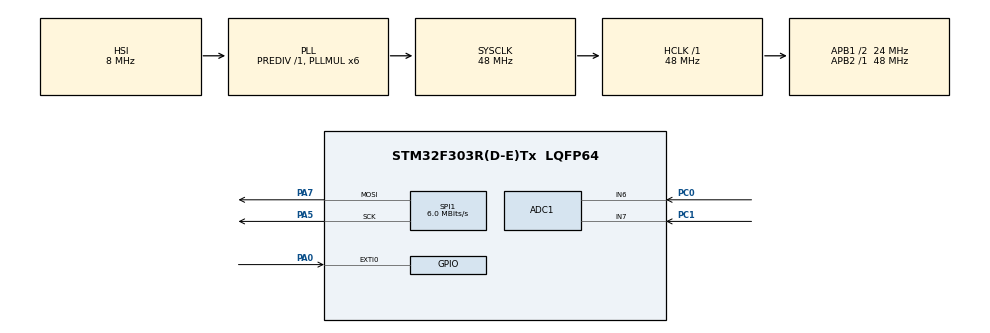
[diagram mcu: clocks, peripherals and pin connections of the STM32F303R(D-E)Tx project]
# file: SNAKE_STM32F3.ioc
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ADC1.Channel-1\#ChannelRegularConversion=ADC_CHANNEL_6
ADC1.NbrOfConversionFlag=1
ADC1.Offset-1\#ChannelRegularConversion=0
ADC1.OffsetNumber-1\#ChannelRegularConversion=ADC_OFFSET_NONE
ADC1.Rank-1\#ChannelRegularConversion=1
ADC1.SamplingTime-1\#ChannelRegularConversion=ADC_SAMPLETIME_1CYCLE_5
ADC1.master=1
Mcu.Family=STM32F3
Mcu.Name=STM32F303R(D-E)Tx
Mcu.Package=LQFP64
NVIC.EXTI0_IRQn=true\:0\:0\:false\:false\:true\:true\:true\:true
NVIC.PriorityGroup=NVIC_PRIORITYGROUP_4
NVIC.TIM2_IRQn=true\:0\:0\:false\:false\:true\:true\:true\:true
PA0.GPIO_PuPd=GPIO_PULLUP
PA0.Signal=GPXTI0
PA5.Mode=TX_Only_Simplex_Unidirect_Master
PA5.Signal=SPI1_SCK
PA7.Mode=TX_Only_Simplex_Unidirect_Master
PA7.Signal=SPI1_MOSI
PC0.Signal=ADCx_IN6
PC1.Signal=ADCx_IN7
PF0-OSC_IN.Mode=HSE-External-Oscillator
PF0-OSC_IN.Signal=RCC_OSC_IN
PF1-OSC_OUT.Mode=HSE-External-Oscillator
PF1-OSC_OUT.Signal=RCC_OSC_OUT
ProjectManager.HeapSize=0x200
ProjectManager.StackSize=0x400
ProjectManager.TargetToolchain=STM32CubeIDE
RCC.AHBFreq_Value=48000000
RCC.APB1CLKDivider=RCC_HCLK_DIV2
RCC.APB1Freq_Value=24000000
RCC.APB1TimFreq_Value=48000000
RCC.APB2Freq_Value=48000000
RCC.APB2TimFreq_Value=48000000
RCC.CortexFreq_Value=48000000
RCC.HCLKFreq_Value=48000000
RCC.HSE_VALUE=8000000
RCC.HSI_VALUE=8000000
RCC.LSE_VALUE=32768
RCC.PLLMUL=RCC_PLL_MUL6
RCC.SYSCLKFreq_VALUE=48000000
RCC.SYSCLKSourceVirtual=RCC_SYSCLKSOURCE_PLLCLK
RCC.USBFreq_Value=48000000
SH.ADCx_IN6.0=ADC1_IN6,IN6-Single-Ended
SH.ADCx_IN7.0=ADC1_IN7,IN7-Single-Ended
SPI1.BaudRatePrescaler=SPI_BAUDRATEPRESCALER_8
SPI1.CalculateBaudRate=6.0 MBits/s
SPI1.DataSize=SPI_DATASIZE_8BIT
SPI1.Direction=SPI_DIRECTION_2LINES
SPI1.Mode=SPI_MODE_MASTER
SPI1.VirtualType=VM_MASTER
TIM2.Period=9599
TIM2.Prescaler=999
VP_TIM2_VS_ClockSourceINT.Mode=Internal
board=custom

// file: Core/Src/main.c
/* USER CODE BEGIN Header */
/**
  ******************************************************************************
  * @file           : main.c
  * @brief          : Main program body
  ******************************************************************************
  * @attention
  *
  * Copyright (c) 2026 STMicroelectronics.
  * All rights reserved.
  *
  * This software is licensed under terms that can be found in the LICENSE file
  * in the root directory of this software component.
  * If no LICENSE file comes with this software, it is provided AS-IS.
  *
  ******************************************************************************
  */
/* USER CODE END Header */
#include "main.h"

/* USER CODE BEGIN Includes */
#include "game.h"
#include "joystick.h"
#include "ws2812b.h"
/* USER CODE END Includes */

ADC_HandleTypeDef hadc1;

SPI_HandleTypeDef hspi1;

TIM_HandleTypeDef htim2;

void SystemClock_Config(void);
static void MX_GPIO_Init(void);
static void MX_SPI1_Init(void);
static void MX_ADC1_Init(void);
static void MX_TIM2_Init(void);

int main(void)
{

  /* MCU Configuration--------------------------------------------------------*/

  /* Reset of all peripherals, Initializes the Flash interface and the Systick. */
  HAL_Init();

  /* Configure the system clock */
  SystemClock_Config();

  /* Initialize all configured peripherals */
  MX_GPIO_Init();
  MX_SPI1_Init();
  MX_ADC1_Init();
  MX_TIM2_Init();
  /* USER CODE BEGIN 2 */
  HAL_TIM_Base_Start_IT(&htim2);
  ws2812b_init(&hspi1);
  joystick_init(&hadc1);
  game_init();

  /* USER CODE END 2 */

  /* Infinite loop */
  /* USER CODE BEGIN WHILE */
  while (1)
  {
	  game_loop();
    /* USER CODE END WHILE */

  }
}

void SystemClock_Config(void)
{
  RCC_OscInitTypeDef RCC_OscInitStruct = {0};
  RCC_ClkInitTypeDef RCC_ClkInitStruct = {0};
  RCC_PeriphCLKInitTypeDef PeriphClkInit = {0};

  /** Initializes the RCC Oscillators according to the specified parameters
  * in the RCC_OscInitTypeDef structure.
  */
  RCC_OscInitStruct.OscillatorType = RCC_OSCILLATORTYPE_HSI;
  RCC_OscInitStruct.HSIState = RCC_HSI_ON;
  RCC_OscInitStruct.HSICalibrationValue = RCC_HSICALIBRATION_DEFAULT;
  RCC_OscInitStruct.PLL.PLLState = RCC_PLL_ON;
  RCC_OscInitStruct.PLL.PLLSource = RCC_PLLSOURCE_HSI;
  RCC_OscInitStruct.PLL.PLLMUL = RCC_PLL_MUL6;
  RCC_OscInitStruct.PLL.PREDIV = RCC_PREDIV_DIV1;
  if (HAL_RCC_OscConfig(&RCC_OscInitStruct) != HAL_OK)
  {
    Error_Handler();
  }

  /** Initializes the CPU, AHB and APB buses clocks
  */
  RCC_ClkInitStruct.ClockType = RCC_CLOCKTYPE_HCLK|RCC_CLOCKTYPE_SYSCLK
                              |RCC_CLOCKTYPE_PCLK1|RCC_CLOCKTYPE_PCLK2;
  RCC_ClkInitStruct.SYSCLKSource = RCC_SYSCLKSOURCE_PLLCLK;
  RCC_ClkInitStruct.AHBCLKDivider = RCC_SYSCLK_DIV1;
  RCC_ClkInitStruct.APB1CLKDivider = RCC_HCLK_DIV2;
  RCC_ClkInitStruct.APB2CLKDivider = RCC_HCLK_DIV1;

  if (HAL_RCC_ClockConfig(&RCC_ClkInitStruct, FLASH_LATENCY_1) != HAL_OK)
  {
    Error_Handler();
  }
  PeriphClkInit.PeriphClockSelection = RCC_PERIPHCLK_ADC12|RCC_PERIPHCLK_TIM2;
  PeriphClkInit.Adc12ClockSelection = RCC_ADC12PLLCLK_DIV1;
  PeriphClkInit.Tim2ClockSelection = RCC_TIM2CLK_HCLK;
  if (HAL_RCCEx_PeriphCLKConfig(&PeriphClkInit) != HAL_OK)
  {
    Error_Handler();
  }
}

static void MX_ADC1_Init(void)
{

  ADC_MultiModeTypeDef multimode = {0};
  ADC_ChannelConfTypeDef sConfig = {0};

  /** Common config
  */
  hadc1.Instance = ADC1;
  hadc1.Init.ClockPrescaler = ADC_CLOCK_ASYNC_DIV1;
  hadc1.Init.Resolution = ADC_RESOLUTION_12B;
  hadc1.Init.ScanConvMode = ADC_SCAN_DISABLE;
  hadc1.Init.ContinuousConvMode = DISABLE;
  hadc1.Init.DiscontinuousConvMode = DISABLE;
  hadc1.Init.ExternalTrigConvEdge = ADC_EXTERNALTRIGCONVEDGE_NONE;
  hadc1.Init.ExternalTrigConv = ADC_SOFTWARE_START;
  hadc1.Init.DataAlign = ADC_DATAALIGN_RIGHT;
  hadc1.Init.NbrOfConversion = 1;
  hadc1.Init.DMAContinuousRequests = DISABLE;
  hadc1.Init.EOCSelection = ADC_EOC_SINGLE_CONV;
  hadc1.Init.LowPowerAutoWait = DISABLE;
  hadc1.Init.Overrun = ADC_OVR_DATA_OVERWRITTEN;
  if (HAL_ADC_Init(&hadc1) != HAL_OK)
  {
    Error_Handler();
  }

  /** Configure the ADC multi-mode
  */
  multimode.Mode = ADC_MODE_INDEPENDENT;
  if (HAL_ADCEx_MultiModeConfigChannel(&hadc1, &multimode) != HAL_OK)
  {
    Error_Handler();
  }

  /** Configure Regular Channel
  */
  sConfig.Channel = ADC_CHANNEL_6;
  sConfig.Rank = ADC_REGULAR_RANK_1;
  sConfig.SingleDiff = ADC_SINGLE_ENDED;
  sConfig.SamplingTime = ADC_SAMPLETIME_1CYCLE_5;
  sConfig.OffsetNumber = ADC_OFFSET_NONE;
  sConfig.Offset = 0;
  if (HAL_ADC_ConfigChannel(&hadc1, &sConfig) != HAL_OK)
  {
    Error_Handler();
  }

}

static void MX_SPI1_Init(void)
{

  /* SPI1 parameter configuration*/
  hspi1.Instance = SPI1;
  hspi1.Init.Mode = SPI_MODE_MASTER;
  hspi1.Init.Direction = SPI_DIRECTION_2LINES;
  hspi1.Init.DataSize = SPI_DATASIZE_8BIT;
  hspi1.Init.CLKPolarity = SPI_POLARITY_LOW;
  hspi1.Init.CLKPhase = SPI_PHASE_1EDGE;
  hspi1.Init.NSS = SPI_NSS_SOFT;
  hspi1.Init.BaudRatePrescaler = SPI_BAUDRATEPRESCALER_8;
  hspi1.Init.FirstBit = SPI_FIRSTBIT_MSB;
  hspi1.Init.TIMode = SPI_TIMODE_DISABLE;
  hspi1.Init.CRCCalculation = SPI_CRCCALCULATION_DISABLE;
  hspi1.Init.CRCPolynomial = 7;
  hspi1.Init.CRCLength = SPI_CRC_LENGTH_DATASIZE;
  hspi1.Init.NSSPMode = SPI_NSS_PULSE_ENABLE;
  if (HAL_SPI_Init(&hspi1) != HAL_OK)
  {
    Error_Handler();
  }

}

static void MX_TIM2_Init(void)
{

  TIM_ClockConfigTypeDef sClockSourceConfig = {0};
  TIM_MasterConfigTypeDef sMasterConfig = {0};

  htim2.Instance = TIM2;
  htim2.Init.Prescaler = 999;
  htim2.Init.CounterMode = TIM_COUNTERMODE_UP;
  htim2.Init.Period = 9599;
  htim2.Init.ClockDivision = TIM_CLOCKDIVISION_DIV1;
  htim2.Init.AutoReloadPreload = TIM_AUTORELOAD_PRELOAD_DISABLE;
  if (HAL_TIM_Base_Init(&htim2) != HAL_OK)
  {
    Error_Handler();
  }
  sClockSourceConfig.ClockSource = TIM_CLOCKSOURCE_INTERNAL;
  if (HAL_TIM_ConfigClockSource(&htim2, &sClockSourceConfig) != HAL_OK)
  {
    Error_Handler();
  }
  sMasterConfig.MasterOutputTrigger = TIM_TRGO_RESET;
  sMasterConfig.MasterSlaveMode = TIM_MASTERSLAVEMODE_DISABLE;
  if (HAL_TIMEx_MasterConfigSynchronization(&htim2, &sMasterConfig) != HAL_OK)
  {
    Error_Handler();
  }

}

static void MX_GPIO_Init(void)
{
  GPIO_InitTypeDef GPIO_InitStruct = {0};
  /* USER CODE BEGIN MX_GPIO_Init_1 */
//  __HAL_RCC_SYSCFG_CLK_ENABLE();
  /* USER CODE END MX_GPIO_Init_1 */

  /* GPIO Ports Clock Enable */
  __HAL_RCC_GPIOF_CLK_ENABLE();
  __HAL_RCC_GPIOC_CLK_ENABLE();
  __HAL_RCC_GPIOA_CLK_ENABLE();

  /*Configure GPIO pin : PA0 */
  GPIO_InitStruct.Pin = GPIO_PIN_0;
  GPIO_InitStruct.Mode = GPIO_MODE_IT_RISING;
  GPIO_InitStruct.Pull = GPIO_PULLUP;
  HAL_GPIO_Init(GPIOA, &GPIO_InitStruct);

  /* EXTI interrupt init*/
  HAL_NVIC_SetPriority(EXTI0_IRQn, 0, 0);
  HAL_NVIC_EnableIRQ(EXTI0_IRQn);

}

/* USER CODE BEGIN 4 */
void HAL_TIM_PeriodElapsedCallback(TIM_HandleTypeDef* htim)
{
    game_tick_request();
}

void HAL_GPIO_EXTI_Callback(uint16_t GPIO_Pin)
{
	static uint32_t last = 0;
	uint32_t now = HAL_GetTick();

	if(now - last > 500)
	{
		last = now;
		game_start_request(HAL_GetTick());
	}

}
/* USER CODE END 4 */

void Error_Handler(void)
{
  __disable_irq();
  while (1)
  {
  }
}
